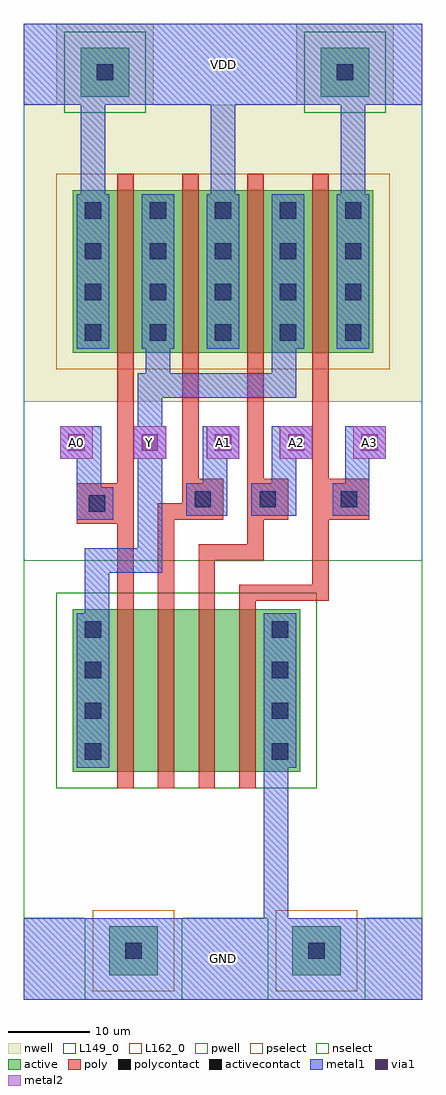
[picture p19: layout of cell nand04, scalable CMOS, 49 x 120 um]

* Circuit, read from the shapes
.subckt nand04 A0 A1 A2 A3 GND VDD Y
M1 n1 A0 Y GND nfet w=20u l=2u
M2 n2 A1 n1 GND nfet w=20u l=2u
M3 n3 A2 n2 GND nfet w=20u l=2u
M4 GND A3 n3 GND nfet w=20u l=2u
M5 Y A0 VDD VDD pfet w=20u l=2u
M6 VDD A1 Y VDD pfet w=20u l=2u
M7 Y A2 VDD VDD pfet w=20u l=2u
M8 VDD A3 Y VDD pfet w=20u l=2u
.ends

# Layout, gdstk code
from math import pi, radians
import gdstk
lib = gdstk.Library(unit=1e-6, precision=1e-09)
def R(c, l, rs):  # rectangles x0, y0, x1, y1
    for r in rs: c.add(gdstk.rectangle(r[:2], r[2:], *l))
def A(c, l, x, y, w, h, nx, ny, dx, dy):  # array of equal rectangles
    R(c, l, [(x+i*dx, y+j*dy, x+i*dx+w, y+j*dy+h) for i in range(nx) for j in range(ny)])
pwell = (41, 0)
nwell = (42, 0)
active = (43, 0)
pselect = (44, 0)
nselect = (45, 0)
poly = (46, 0)
polycontact = (47, 0)
activecontact = (48, 0)
metal1 = (49, 0)
via1 = (50, 0)
metal2 = (51, 0)
L149_0 = (149, 0)
L162_0 = (162, 0)

nwell_contact = lib.new_cell('nwell_contact')
R(nwell_contact, nwell, [(-6,-5,6,6)])
R(nwell_contact, active, [(-3,-3,3,3)])
R(nwell_contact, nselect, [(-5,-5,5,5)])
R(nwell_contact, activecontact, [(-1,-1,1,1)])

pwell_contact = lib.new_cell('pwell_contact')
R(pwell_contact, pwell, [(-6,-6,6,5)])
R(pwell_contact, active, [(-3,-3,3,3)])
R(pwell_contact, pselect, [(-5,-5,5,5)])
R(pwell_contact, activecontact, [(-1,-1,1,1)])

via = lib.new_cell('via')
R(via, metal1, [(-2,-2,2,2)])
R(via, via1, [(-1,-1,1,1)])
R(via, metal2, [(-2,-2,2,2)])

nand04 = lib.new_cell('nand04')
R(nand04, pwell, [(0,10,49,20), (0,10,49,54), (0,20,40,22), (0,22,40,54)])
R(nand04, nwell, [(0,73.5,49,105.5), (0,73.5,49,110), (0,95,49,110)])
R(nand04, active, [(6,28,34,48), (6,79.5,43,99.5)])
R(nand04, pselect, [(4,77.5,45,101.5)])
R(nand04, nselect, [(4,26,36,50)])
A(nand04, poly, 11.5, 26, 2, 2, 4, 2, 5, 22)
A(nand04, poly, 11.5, 28, 2, 20, 4, 1, 5, 0)
A(nand04, poly, 11.5, 77.5, 2, 2, 4, 2, 8, 22)
A(nand04, poly, 11.5, 79.5, 2, 20, 4, 1, 8, 0)
R(nand04, poly, [(6.5,58.5,11.5,63.5), (19.5,59,24.5,64), (27.5,59,32.5,64), (37.5,59,42.5,64)])
R(nand04, polycontact, [(8,60,10,62), (21,60.5,23,62.5), (29,60.5,31,62.5), (39,60.5,41,62.5)])
A(nand04, activecontact, 7.5, 29.5, 2, 2, 1, 4, 0, 5)
A(nand04, activecontact, 30.5, 29.5, 2, 2, 1, 4, 0, 5)
A(nand04, activecontact, 7.5, 81, 2, 2, 5, 4, 8, 5)
A(nand04, metal1, 6.5, 80, 4, 19, 5, 1, 8, 0)
R(nand04, metal1, [(0,0,49,10), (0,0,49,10), (6.5,28.5,10.5,47.5), (29.5,28.5,33.5,47.5), (7,59,11,63), (20,59.5,24,63.5), (28,59.5,32,63.5), (38,59.5,42,63.5), (0,110,49,120), (0,110,49,120)])
A(nand04, metal2, 4.5, 66.5, 4, 4, 5, 1, 9, 0)
R(nand04, L149_0, [(0,0,49,10), (0,0,49,10), (0,0,49,120), (7,59,11,63), (20,59.5,24,63.5), (28,59.5,32,63.5), (38,59.5,42,63.5), (0,110,49,120), (0,110,49,120)])
A(nand04, L162_0, 4.5, 66.5, 4, 4, 5, 1, 9, 0)
nand04.add(gdstk.FlexPath([(32,70.5),(32,59.5)], 3, ends="flush", simple_path=True, layer=149, datatype=0))  # L149_0
nand04.add(gdstk.FlexPath([(8.5,99),(8.5,110)], 3, ends="flush", simple_path=True, layer=149, datatype=0))  # L149_0
nand04.add(gdstk.FlexPath([(41,70.5),(41,59.5)], 3, ends="flush", simple_path=True, layer=149, datatype=0))  # L149_0
nand04.add(gdstk.FlexPath([(8,59),(8,70.5)], 3, ends="flush", simple_path=True, layer=149, datatype=0))  # L149_0
nand04.add(gdstk.FlexPath([(23.5,70.5),(23.5,59.5)], 3, ends="flush", simple_path=True, layer=149, datatype=0))  # L149_0
nand04.add(gdstk.FlexPath([(24.5,99),(24.5,110)], 3, ends="flush", simple_path=True, layer=149, datatype=0))  # L149_0
nand04.add(gdstk.FlexPath([(40.5,99),(40.5,110)], 3, ends="flush", simple_path=True, layer=149, datatype=0))  # L149_0
nand04.add(gdstk.FlexPath([(18,75.5),(32,75.5),(32,80)], 3, ends="flush", simple_path=True, layer=149, datatype=0))  # L149_0
nand04.add(gdstk.FlexPath([(9,47.5),(9,54),(15.5,54),(15.5,75.5),(16.5,75.5),(16.5,80)], 3, ends="flush", simple_path=True, layer=149, datatype=0))  # L149_0
nand04.add(gdstk.FlexPath([(31,28.5),(31,10)], 3, ends="flush", simple_path=True, layer=149, datatype=0))  # L149_0
nand04.add(gdstk.FlexPath([(32,70.5),(32,59.5)], 3, ends="flush", simple_path=True, layer=49, datatype=0))  # metal1
nand04.add(gdstk.FlexPath([(8.5,99),(8.5,110)], 3, ends="flush", simple_path=True, layer=49, datatype=0))  # metal1
nand04.add(gdstk.FlexPath([(41,70.5),(41,59.5)], 3, ends="flush", simple_path=True, layer=49, datatype=0))  # metal1
nand04.add(gdstk.FlexPath([(8,59),(8,70.5)], 3, ends="flush", simple_path=True, layer=49, datatype=0))  # metal1
nand04.add(gdstk.FlexPath([(23.5,70.5),(23.5,59.5)], 3, ends="flush", simple_path=True, layer=49, datatype=0))  # metal1
nand04.add(gdstk.FlexPath([(24.5,99),(24.5,110)], 3, ends="flush", simple_path=True, layer=49, datatype=0))  # metal1
nand04.add(gdstk.FlexPath([(40.5,99),(40.5,110)], 3, ends="flush", simple_path=True, layer=49, datatype=0))  # metal1
nand04.add(gdstk.FlexPath([(18,75.5),(32,75.5),(32,80)], 3, ends="flush", simple_path=True, layer=49, datatype=0))  # metal1
nand04.add(gdstk.FlexPath([(9,47.5),(9,54),(15.5,54),(15.5,75.5),(16.5,75.5),(16.5,80)], 3, ends="flush", simple_path=True, layer=49, datatype=0))  # metal1
nand04.add(gdstk.FlexPath([(31,28.5),(31,10)], 3, ends="flush", simple_path=True, layer=49, datatype=0))  # metal1
nand04.add(gdstk.FlexPath([(12.5,77.5),(12.5,50)], 2, ends="flush", simple_path=True, layer=46, datatype=0))  # poly
nand04.add(gdstk.FlexPath([(28.5,77.5),(28.5,55),(22.5,55),(22.5,50)], 2, ends="flush", simple_path=True, layer=46, datatype=0))  # poly
nand04.add(gdstk.FlexPath([(36.5,77.5),(36.5,50),(26.5,50)], 2, ends="flush", simple_path=True, layer=46, datatype=0))  # poly
nand04.add(gdstk.FlexPath([(20.5,77.5),(20.5,60),(17.5,60),(17.5,50)], 2, ends="flush", simple_path=True, layer=46, datatype=0))  # poly
nand04.add(gdstk.Reference(nwell_contact, (10,114)))
nand04.add(gdstk.Reference(nwell_contact, (39.5,114)))
nand04.add(gdstk.Reference(pwell_contact, (36,6)))
nand04.add(gdstk.Reference(pwell_contact, (13.5,6)))
nand04.add(gdstk.Reference(via, (6.5,68.5), rotation=pi, x_reflection=True))
nand04.add(gdstk.Reference(via, (33.5,68.5)))
nand04.add(gdstk.Reference(via, (24.5,68.5)))
nand04.add(gdstk.Reference(via, (15.5,68.5)))
nand04.add(gdstk.Reference(via, (42.5,68.5)))
nand04.add(gdstk.Label('A3', (42.5,68.5), layer=3, texttype=0))
nand04.add(gdstk.Label('A2', (33.5,68.5), layer=3, texttype=0))
nand04.add(gdstk.Label('A1', (24.5,68.5), layer=3, texttype=0))
nand04.add(gdstk.Label('A0', (6.5,68.5), layer=3, texttype=0))
nand04.add(gdstk.Label('Y', (15.5,68.5), layer=3, texttype=0))
nand04.add(gdstk.Label('GND', (24.5,5), layer=2, texttype=0))
nand04.add(gdstk.Label('VDD', (24.5,115), layer=2, texttype=0))

lib.write_gds('nand04.gds')
